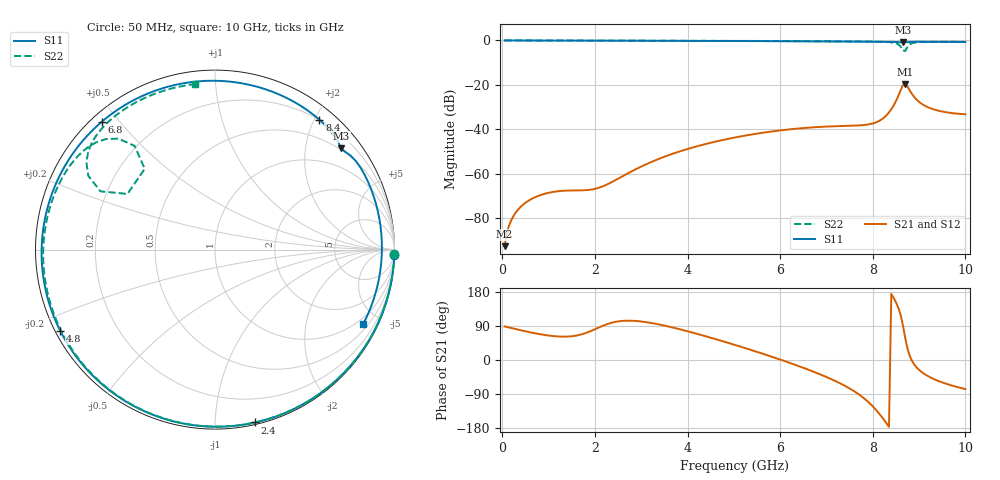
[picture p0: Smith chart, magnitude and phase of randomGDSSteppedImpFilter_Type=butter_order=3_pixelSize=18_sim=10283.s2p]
! freq	dB(S11)	phase(S11)	dB(S12)	phase(S12)
!  dB(S21)	phase(S21)	dB(S22)	phase(S22)
!S-par simulation data
#  GHz  S  DB  R 50
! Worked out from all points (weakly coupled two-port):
!   200 points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, 50 MHz to 10 GHz, reference 50 ohm
!   highest |S21| = -19.57 dB at 8.7 GHz (marker M1); lowest = -92.6 dB at 50 MHz (marker M2)
!   lowest |S11| = -0.9 dB at 8.65 GHz (marker M3), VSWR 19.38, Z = 22.9 + j139 ohm
!   |S11| at or under -10 dB: nowhere
!   |S22| runs from -4.8 to 0.0 dB; largest |S21 - S12| = 0
!   S11 on the Smith chart (normalised r, x): 50 MHz: 0, -69; 2.4 GHz: 0.01, -1.26; 4.8 GHz: 0.01, -0.25; 6.8 GHz: 0.03, +0.45; 8.4 GHz: 0.20, +2.07; 10 GHz: 0.73, -4.11
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0.05  -0.00 -1.7  -92.64 88.6  -92.64 88.6  -0.00 -1.3
0.2  -0.01 -6.6  -80.66 84.2  -80.66 84.2  -0.01 -5.4
0.8  -0.03 -26.1  -69.80 68.3  -69.80 68.3  -0.03 -21.2
1.75  -0.07 -56.5  -67.48 69.0  -67.48 69.0  -0.06 -45.9
2.4  -0.10 -76.9  -63.39 99.5  -63.39 99.5  -0.08 -62.4
3.4  -0.14 -107.8  -53.16 93.4  -53.16 93.4  -0.11 -86.9
4.8  -0.23 -152.2  -44.65 48.1  -44.65 48.1  -0.18 -120.2
5.05  -0.25 -160.6  -43.59 38.8  -43.59 38.8  -0.20 -126.2
5.9  -0.33 168.8  -40.77 5.3  -40.77 5.3  -0.25 -146.5
6.7  -0.42 135.9  -39.13 -29.9  -39.13 -29.9  -0.33 -166.5
6.8  -0.43 131.5  -39.00 -34.7  -39.00 -34.7  -0.34 -169.0
7.6  -0.52 93.2  -38.37 -82.6  -38.37 -82.6  -0.43 169.1
8.05  -0.58 69.9  -37.05 -128.9  -37.05 -128.9  -0.53 155.0
8.35  -0.63 53.9  -32.41 -176.3  -32.41 -176.3  -0.75 143.3
8.4  -0.65 51.2  -30.99 174.2  -30.99 174.2  -0.84 140.8
8.55  -0.75 43.2  -25.03 138.3  -25.03 138.3  -1.73 131.0
8.65  -0.90 38.8  -20.24 92.1  -20.24 92.1  -4.49 131.0
8.7  -0.86 37.1  -19.57 58.7  -19.57 58.7  -4.76 147.5
8.8  -0.66 32.0  -22.55 10.3  -22.55 10.3  -1.76 149.8
8.9  -0.61 26.4  -25.59 -12.5  -25.59 -12.5  -0.98 142.2
9.3  -0.62 5.8  -30.94 -49.3  -30.94 -49.3  -0.62 123.3
10  -0.69 -26.6  -33.24 -76.7  -33.24 -76.7  -0.65 96.7
